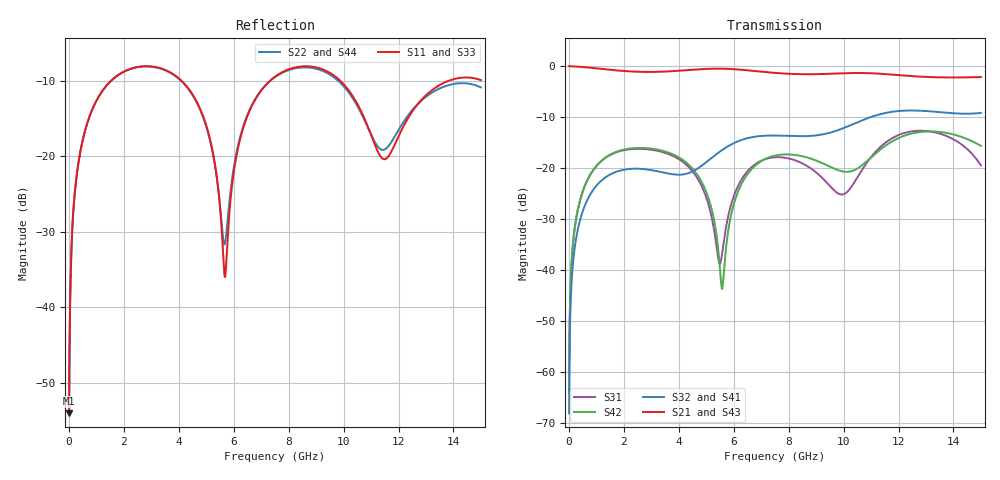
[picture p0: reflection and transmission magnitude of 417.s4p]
! Created with skrf 1.8.0 (http://scikit-rf.org).
# GHz S RI R 50.0
!freq ReS11 ImS11 ReS12 ImS12 ReS13 ImS13
! ReS14 ImS14
! ReS21 ImS21 ReS22 ImS22 ReS23 ImS23
! ReS24 ImS24
! ReS31 ImS31 ReS32 ImS32 ReS33 ImS33
! ReS34 ImS34
! ReS41 ImS41 ReS42 ImS42 ReS43 ImS43
! ReS44 ImS44
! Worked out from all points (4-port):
!   2499 points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, 5 MHz to 15 GHz, reference 50 ohm
!   strongest paths, dB at 5 MHz, 3.476 GHz, 7.19 GHz, 11.1 GHz, 15 GHz:
!     S21: 0.0, -1.1, -1.2, -1.4, -2.2
!     S43: 0.0, -1.1, -1.2, -1.4, -2.1
!     S32: -68.1, -20.9, -13.6, -9.8, -9.2
!     S41: -68.1, -21.0, -13.7, -9.8, -9.2
!     S42: -64.2, -16.7, -18.1, -17.5, -15.6
!     S31: -64.2, -17.0, -18.2, -17.2, -19.5
!   lowest |S11| = -54.0 dB at 5 MHz (marker M1), VSWR 1.00, Z = 50.2 + j0.121 ohm
!   |S11| at or under -10 dB: start of sweep to 1.534 GHz; 4.096 GHz to 7.323 GHz (3.228 GHz wide, 56.5 % of centre); 9.877 GHz to 13.84 GHz (3.958 GHz wide, 33.4 % of centre)
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0.005  0.00158 0.0012  0.9984 -0.00308  7.87e-05 0.000613  -7.66e-05 -0.000386
       0.9984 -0.00308  0.00158 0.0012  -7.66e-05 -0.000386  7.88e-05 0.000613
       7.87e-05 0.000613  -7.66e-05 -0.000386  0.00158 0.0012  0.9984 -0.00308
       -7.66e-05 -0.000386  7.88e-05 0.000613  0.9984 -0.00308  0.00158 0.0012
0.3126303  0.0226 0.0795  0.9692 -0.1919  0.00994 0.0366  -0.00843 -0.0228
           0.9692 -0.1919  0.0226 0.0795  -0.00845 -0.0228  0.0103 0.0365
           0.00994 0.0366  -0.00845 -0.0228  0.0226 0.0795  0.9692 -0.1919
           -0.00843 -0.0228  0.0103 0.0365  0.9692 -0.1919  0.0226 0.0795
1.569404  0.2641 0.1818  0.5653 -0.7207  0.1209 0.0651  -0.0878 -0.00887
          0.5653 -0.7207  0.2625 0.1829  -0.088 -0.00867  0.1253 0.0594
          0.1209 0.0651  -0.088 -0.00867  0.264 0.1819  0.5654 -0.7207
          -0.0878 -0.00887  0.1253 0.0594  0.5654 -0.7207  0.2626 0.1828
5.677366  0.0158 -0.000482  -0.9398 -0.0628  0.0157 0.0161  -0.00793 0.1565
          -0.9398 -0.0628  0.0261 0.00334  -0.00386 0.1567  -0.00239 0.0124
          0.0157 0.0161  -0.00386 0.1567  0.0174 0.000104  -0.9398 -0.0628
          -0.00793 0.1565  -0.00239 0.0124  -0.9398 -0.0628  0.0243 0.00383
8.791163  0.3921 -0.023  0.0135 0.8321  0.0677 -0.0735  0.2029 -0.034
          0.0135 0.8321  0.3846 -0.0192  0.2024 -0.042  0.0668 -0.1048
          0.0677 -0.0735  0.2024 -0.042  0.3911 -0.0236  0.0129 0.8323
          0.2029 -0.034  0.0668 -0.1048  0.0129 0.8323  0.3849 -0.0184
11.57357  0.097 0.000281  0.8322 0.0301  0.0158 0.1808  0.0114 -0.3488
          0.8322 0.0301  0.1133 0.00629  -0.00293 -0.3492  -0.00458 0.1692
          0.0158 0.1808  -0.00293 -0.3492  0.0957 -0.00185  0.8322 0.031
          0.0114 -0.3488  -0.00458 0.1692  0.8322 0.031  0.1141 0.0103
15  0.307 -0.0861  -0.1345 -0.7689  0.0663 -0.0829  -0.3343 0.0853
    -0.1345 -0.7689  0.2777 -0.0655  -0.3299 0.1087  0.0521 -0.1569
    0.0663 -0.0829  -0.3299 0.1087  0.3048 -0.0799  -0.1323 -0.7698
    -0.3343 0.0853  0.0521 -0.1569  -0.1323 -0.7698  0.2777 -0.0717
